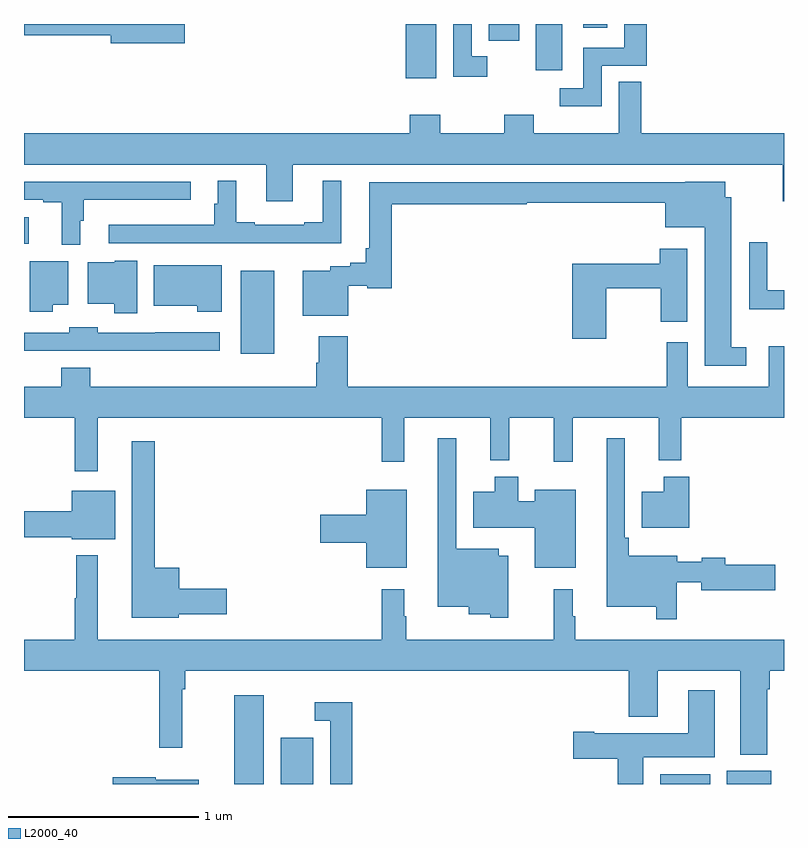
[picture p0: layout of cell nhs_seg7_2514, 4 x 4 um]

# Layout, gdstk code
import gdstk
lib = gdstk.Library(unit=1e-6, precision=1e-09)
def R(c, l, rs):  # rectangles x0, y0, x1, y1
    for r in rs: c.add(gdstk.rectangle(r[:2], r[2:], *l))
def P(c, l, *ps):  # polygons
    for p in ps: c.add(gdstk.Polygon(p, *l))
L2000_40 = (2000, 40)

nhs_seg7_2514 = lib.new_cell('nhs_seg7_2514')
R(nhs_seg7_2514, L2000_40, [(276.107,1020,276.262,1020.466), (276.35,1020,276.523,1020.244), (278.348,1020,278.611,1020.052), (278.699,1020,278.932,1020.07), (276.14,1022.264,276.316,1022.701), (275,1022.843,275.026,1022.983), (277.01,1023.714,277.171,1024), (277.694,1023.756,277.834,1024), (277.445,1023.912,277.606,1024), (277.944,1023.981,278.071,1024)])
P(nhs_seg7_2514, L2000_40, [(278.04,1023.78),(278.278,1023.78),(278.278,1024),(278.159,1024),(278.159,1023.876),(277.944,1023.876),(277.944,1023.663),(277.821,1023.663),(277.821,1023.566),(278.04,1023.566)],
  [(277.438,1023.831),(277.356,1023.831),(277.356,1024),(277.26,1024),(277.26,1023.723),(277.438,1023.723)],
  [(275.845,1024),(275,1024),(275,1023.94),(275.456,1023.94),(275.456,1023.898),(275.845,1023.898)],
  [(276.415,1023.26),(278.993,1023.26),(278.993,1023.066),(279,1023.066),(279,1023.424),(278.248,1023.424),(278.248,1023.695),(278.129,1023.695),(278.129,1023.424),(277.683,1023.424),(277.683,1023.523),(277.528,1023.523),(277.528,1023.424),(277.191,1023.424),(277.191,1023.523),(277.031,1023.523),(277.031,1023.424),(275,1023.424),(275,1023.26),(276.275,1023.26),(276.275,1023.066),(276.415,1023.066)],
  [(276.67,1023.175),(276.572,1023.175),(276.572,1022.956),(276.476,1022.956),(276.476,1022.943),(276.214,1022.943),(276.214,1022.956),(276.118,1022.956),(276.118,1023.175),(276.02,1023.175),(276.02,1023.054),(276.001,1023.054),(276.001,1022.944),(275.445,1022.944),(275.445,1022.847),(276.144,1022.847),(276.144,1022.846),(276.67,1022.846)],
  [(275.296,1022.964),(275.315,1022.964),(275.315,1023.074),(275.878,1023.074),(275.878,1023.171),(275,1023.171),(275,1023.075),(275.102,1023.075),(275.102,1023.063),(275.198,1023.063),(275.198,1022.838),(275.296,1022.838)],
  [(278.8,1022.3),(278.722,1022.3),(278.722,1023.088),(278.692,1023.088),(278.692,1023.169),(278.479,1023.169),(278.479,1023.168),(276.818,1023.168),(276.818,1022.821),(276.799,1022.821),(276.799,1022.744),(276.717,1022.744),(276.717,1022.724),(276.612,1022.724),(276.612,1022.701),(276.467,1022.701),(276.467,1022.465),(276.706,1022.465),(276.706,1022.623),(276.807,1022.623),(276.807,1022.608),(276.935,1022.608),(276.935,1023.052),(277.646,1023.052),(277.646,1023.06),(278.375,1023.06),(278.375,1022.93),(278.582,1022.93),(278.582,1022.202),(278.8,1022.202)],
  [(279,1022.599),(278.913,1022.599),(278.913,1022.851),(278.817,1022.851),(278.817,1022.498),(279,1022.498)],
  [(278.064,1022.608),(278.35,1022.608),(278.35,1022.433),(278.491,1022.433),(278.491,1022.818),(278.345,1022.818),(278.345,1022.737),(277.886,1022.737),(277.886,1022.343),(278.064,1022.343)],
  [(275.596,1022.755),(275.478,1022.755),(275.478,1022.746),(275.336,1022.746),(275.336,1022.528),(275.474,1022.528),(275.474,1022.478),(275.596,1022.478)],
  [(275.152,1022.522),(275.233,1022.522),(275.233,1022.752),(275.03,1022.752),(275.03,1022.486),(275.152,1022.486)],
  [(276.04,1022.731),(275.684,1022.731),(275.684,1022.516),(275.911,1022.516),(275.911,1022.486),(276.04,1022.486)],
  [(276.031,1022.377),(275.692,1022.377),(275.692,1022.376),(275.388,1022.376),(275.388,1022.404),(275.238,1022.404),(275.238,1022.376),(275,1022.376),(275,1022.279),(276.031,1022.279)],
  [(275.389,1021.928),(276.883,1021.928),(276.883,1021.695),(277.001,1021.695),(277.001,1021.928),(277.454,1021.928),(277.454,1021.703),(277.554,1021.703),(277.554,1021.928),(277.789,1021.928),(277.789,1021.695),(277.889,1021.695),(277.889,1021.928),(278.342,1021.928),(278.342,1021.703),(278.459,1021.703),(278.459,1021.928),(279,1021.928),(279,1022.305),(278.921,1022.305),(278.921,1022.092),(278.494,1022.092),(278.494,1022.326),(278.383,1022.326),(278.383,1022.092),(276.704,1022.092),(276.704,1022.356),(276.551,1022.356),(276.551,1022.216),(276.539,1022.216),(276.539,1022.092),(275.348,1022.092),(275.348,1022.191),(275.195,1022.191),(275.195,1022.092),(275,1022.092),(275,1021.928),(275.268,1021.928),(275.268,1021.647),(275.389,1021.647)],
  [(278.436,1021.062),(278.564,1021.062),(278.564,1021.019),(278.953,1021.019),(278.953,1021.154),(278.692,1021.154),(278.692,1021.19),(278.568,1021.19),(278.568,1021.171),(278.437,1021.171),(278.437,1021.201),(278.183,1021.201),(278.183,1021.297),(278.163,1021.297),(278.163,1021.819),(278.066,1021.819),(278.066,1020.932),(278.328,1020.932),(278.328,1020.867),(278.436,1020.867)],
  [(277.549,1021.201),(277.498,1021.201),(277.498,1021.237),(277.275,1021.237),(277.275,1021.819),(277.178,1021.819),(277.178,1020.932),(277.34,1020.932),(277.34,1020.893),(277.455,1020.893),(277.455,1020.875),(277.549,1020.875)],
  [(275.814,1020.893),(276.067,1020.893),(276.067,1021.028),(275.818,1021.028),(275.818,1021.138),(275.689,1021.138),(275.689,1021.804),(275.567,1021.804),(275.567,1020.875),(275.814,1020.875)],
  [(278.501,1021.618),(278.366,1021.618),(278.366,1021.537),(278.252,1021.537),(278.252,1021.349),(278.501,1021.349)],
  [(277.903,1021.549),(277.688,1021.549),(277.688,1021.489),(277.6,1021.489),(277.6,1021.618),(277.478,1021.618),(277.478,1021.537),(277.364,1021.537),(277.364,1021.349),(277.688,1021.349),(277.688,1021.139),(277.903,1021.139)],
  [(277.015,1021.549),(276.8,1021.549),(276.8,1021.418),(276.558,1021.418),(276.558,1021.271),(276.8,1021.271),(276.8,1021.139),(277.015,1021.139)],
  [(275.479,1021.543),(275.252,1021.543),(275.252,1021.436),(275,1021.436),(275,1021.3),(275.252,1021.3),(275.252,1021.289),(275.479,1021.289)],
  [(278.911,1020.5),(278.924,1020.5),(278.924,1020.596),(279,1020.596),(279,1020.76),(277.9,1020.76),(277.9,1020.884),(277.888,1020.884),(277.888,1021.024),(277.789,1021.024),(277.789,1020.76),(277.012,1020.76),(277.012,1020.884),(277,1020.884),(277,1021.024),(276.883,1021.024),(276.883,1020.76),(275.389,1020.76),(275.389,1021.204),(275.275,1021.204),(275.275,1020.977),(275.268,1020.977),(275.268,1020.76),(275,1020.76),(275,1020.596),(275.713,1020.596),(275.713,1020.192),(275.834,1020.192),(275.834,1020.5),(275.849,1020.5),(275.849,1020.596),(278.183,1020.596),(278.183,1020.353),(278.335,1020.353),(278.335,1020.596),(278.771,1020.596),(278.771,1020.155),(278.911,1020.155)],
  [(278.26,1020.14),(278.635,1020.14),(278.635,1020.493),(278.495,1020.493),(278.495,1020.268),(278.002,1020.268),(278.002,1020.276),(277.89,1020.276),(277.89,1020.134),(278.126,1020.134),(278.126,1020),(278.26,1020)],
  [(276.728,1020.43),(276.531,1020.43),(276.531,1020.333),(276.612,1020.333),(276.612,1020),(276.728,1020)],
  [(275.92,1020.022),(275.694,1020.022),(275.694,1020.035),(275.466,1020.035),(275.466,1020),(275.92,1020)])

lib.write_gds('nhs_seg7_2514.gds')
